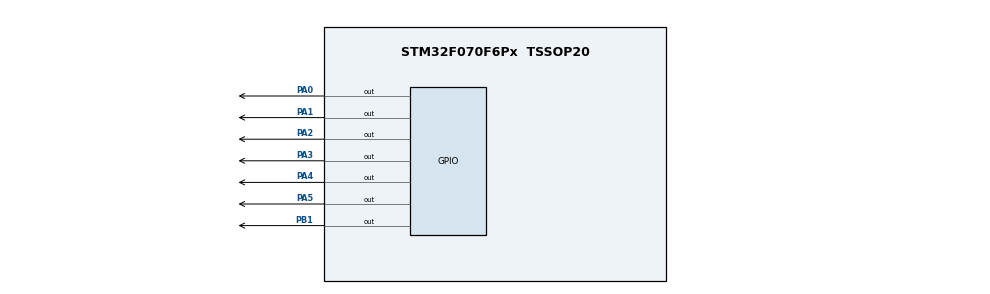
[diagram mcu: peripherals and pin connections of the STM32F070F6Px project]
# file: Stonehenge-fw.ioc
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Mcu.Family=STM32F0
Mcu.Name=STM32F070F6Px
Mcu.Package=TSSOP20
PA0.Signal=GPIO_Output
PA1.Signal=GPIO_Output
PA13.Mode=Serial_Wire
PA13.Signal=SYS_SWDIO
PA14.Mode=Serial_Wire
PA14.Signal=SYS_SWCLK
PA2.Signal=GPIO_Output
PA3.Signal=GPIO_Output
PA4.Signal=GPIO_Output
PA5.Signal=GPIO_Output
PB1.Signal=GPIO_Output
ProjectManager.HeapSize=0x200
ProjectManager.StackSize=0x400
ProjectManager.TargetToolchain=CMake
board=custom

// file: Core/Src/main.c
/* USER CODE BEGIN Header */
/**
 ******************************************************************************
 * @file           : main.c
 * @brief          : Main program body
 ******************************************************************************
 * @attention
 *
 * Copyright (c) 2025 STMicroelectronics.
 * All rights reserved.
 *
 * This software is licensed under terms that can be found in the LICENSE file
 * in the root directory of this software component.
 * If no LICENSE file comes with this software, it is provided AS-IS.
 *
 ******************************************************************************
 */
/* USER CODE END Header */
#include "main.h"

/* USER CODE BEGIN Includes */
#include "charlieplexing.h"
/* USER CODE END Includes */

void SystemClock_Config(void);
static void MX_GPIO_Init(void);

int main(void)
{

    /* MCU Configuration--------------------------------------------------------*/

    /* Reset of all peripherals, Initializes the Flash interface and the Systick. */
    HAL_Init();

    /* Configure the system clock */
    SystemClock_Config();

    /* Initialize all configured peripherals */
    MX_GPIO_Init();

    /* Infinite loop */
    /* USER CODE BEGIN WHILE */
    while (1)
    {
        HAL_Delay(500);
        charlieplexing_SetLedState(D_158, true);
        HAL_Delay(500);
        charlieplexing_SetLedState(D_122, true);
        HAL_Delay(500);
        charlieplexing_SetLedState(D_152, true);
        HAL_Delay(500);
        charlieplexing_SetLedState(D_154, true);
        HAL_Delay(500);
        charlieplexing_SetLedState(D_105, true);
        HAL_Delay(500);
        charlieplexing_SetLedState(D_107, true);
        HAL_Delay(500);
        charlieplexing_SetLedState(D_102, true);
        HAL_Delay(500);
        charlieplexing_SetLedState(D_101, true);
        HAL_Delay(500);
        charlieplexing_SetLedState(D_130, true);
        HAL_Delay(500);
        charlieplexing_SetLedState(D_2_Sun, true);
        HAL_Delay(500);
        charlieplexing_SetLedState(D_1_Altar, true);
        HAL_Delay(500);

        charlieplexing_SetAllLedsOff();
        HAL_Delay(1500);

        /* USER CODE END WHILE */

    }
}

void SystemClock_Config(void)
{
    RCC_OscInitTypeDef RCC_OscInitStruct = {0};
    RCC_ClkInitTypeDef RCC_ClkInitStruct = {0};

    /** Initializes the RCC Oscillators according to the specified parameters
     * in the RCC_OscInitTypeDef structure.
     */
    RCC_OscInitStruct.OscillatorType = RCC_OSCILLATORTYPE_HSI;
    RCC_OscInitStruct.HSIState = RCC_HSI_ON;
    RCC_OscInitStruct.HSICalibrationValue = RCC_HSICALIBRATION_DEFAULT;
    RCC_OscInitStruct.PLL.PLLState = RCC_PLL_NONE;
    if (HAL_RCC_OscConfig(&RCC_OscInitStruct) != HAL_OK)
    {
        Error_Handler();
    }

    /** Initializes the CPU, AHB and APB buses clocks
     */
    RCC_ClkInitStruct.ClockType = RCC_CLOCKTYPE_HCLK | RCC_CLOCKTYPE_SYSCLK | RCC_CLOCKTYPE_PCLK1;
    RCC_ClkInitStruct.SYSCLKSource = RCC_SYSCLKSOURCE_HSI;
    RCC_ClkInitStruct.AHBCLKDivider = RCC_SYSCLK_DIV1;
    RCC_ClkInitStruct.APB1CLKDivider = RCC_HCLK_DIV1;

    if (HAL_RCC_ClockConfig(&RCC_ClkInitStruct, FLASH_LATENCY_0) != HAL_OK)
    {
        Error_Handler();
    }
}

static void MX_GPIO_Init(void)
{
    GPIO_InitTypeDef GPIO_InitStruct = {0};

    /* GPIO Ports Clock Enable */
    __HAL_RCC_GPIOA_CLK_ENABLE();
    __HAL_RCC_GPIOB_CLK_ENABLE();

    /*Configure GPIO pin Output Level */
    HAL_GPIO_WritePin(GPIOA, GPIO_PIN_0 | GPIO_PIN_1 | GPIO_PIN_2 | GPIO_PIN_3 | GPIO_PIN_4 | GPIO_PIN_5,
                      GPIO_PIN_RESET);

    /*Configure GPIO pin Output Level */
    HAL_GPIO_WritePin(GPIOB, GPIO_PIN_1, GPIO_PIN_RESET);

    /*Configure GPIO pins : PA0 PA1 PA2 PA3
                             PA4 PA5 */
    GPIO_InitStruct.Pin = GPIO_PIN_0 | GPIO_PIN_1 | GPIO_PIN_2 | GPIO_PIN_3 | GPIO_PIN_4 | GPIO_PIN_5;
    GPIO_InitStruct.Mode = GPIO_MODE_OUTPUT_PP;
    GPIO_InitStruct.Pull = GPIO_NOPULL;
    GPIO_InitStruct.Speed = GPIO_SPEED_FREQ_LOW;
    HAL_GPIO_Init(GPIOA, &GPIO_InitStruct);

    /*Configure GPIO pin : PB1 */
    GPIO_InitStruct.Pin = GPIO_PIN_1;
    GPIO_InitStruct.Mode = GPIO_MODE_OUTPUT_PP;
    GPIO_InitStruct.Pull = GPIO_NOPULL;
    GPIO_InitStruct.Speed = GPIO_SPEED_FREQ_LOW;
    HAL_GPIO_Init(GPIOB, &GPIO_InitStruct);

}

void Error_Handler(void)
{
    __disable_irq();
    while (1)
    {
    }
}
